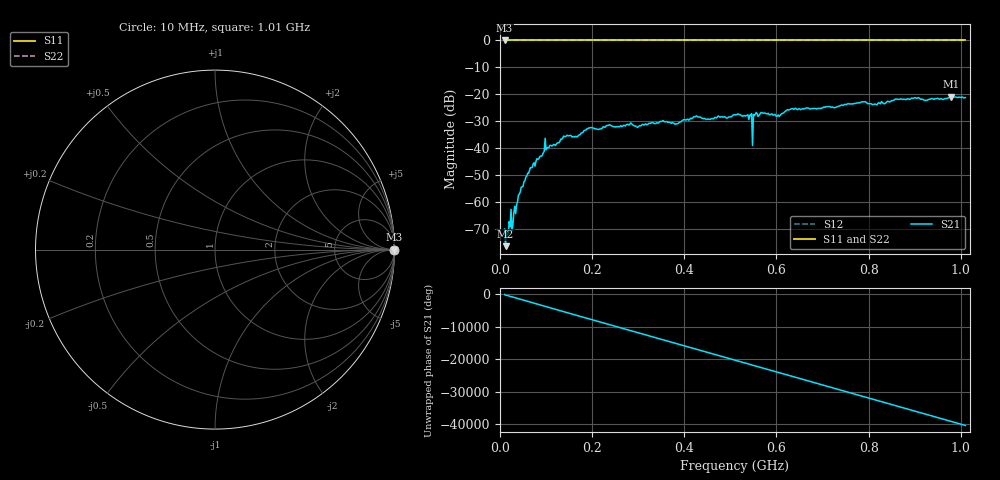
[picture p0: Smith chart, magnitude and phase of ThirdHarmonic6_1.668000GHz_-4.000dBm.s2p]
! 8/16/2025 7:59:39 PM
! C:\ANRITSUVNA\TEMP\TEMP.S2P
! CHANNEL.1
! TR.MEASUREMENT
! RAW.DATA
! RF.CORRECTION.OFF
! AVERAGING.OFF
! IF.BANDWIDTH: 5KHZ
! SWEEPTYPE:  FREQ.SWEEP(Linear)
! Reference Plane Port Info
! PORT:  PORT1  PORT2
! DISTANCE:  0  m  0  m
! TIME:  0  s  0  s
! PHASE.OFFSET:  0  deg.  0  deg.
! LOSS:  0  dB  0  dB
! REF.LOSS:  0  dB  0  dB
! REF.FREQ:  0  Hz  0  Hz
! Power Info
! POWER:  -20  dBm  -20  dBm
! EFF.POWER:  -20  dBm  -20  dBm
! SOURCE.ATTEN:  0  dB  0  dB
! TEST.ATTEN:  0  dB  0  dB
# GHZ S RI R 50.0
! FREQ.GHZ  S11RE  S11IM  S21RE  S21IM  S12RE  S12IM  S22RE  S22IM
!; PortSelection: Port_12
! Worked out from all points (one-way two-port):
!   501 points, 10 MHz to 1.01 GHz, reference 50 ohm
!   highest |S21| = -20.91 dB at 978 MHz (marker M1); lowest = -76.4 dB at 12 MHz (marker M2)
!   lowest |S11| = 0.0 dB at 10 MHz (marker M3)
!   |S11| at or under -10 dB: nowhere
!   |S22| runs from 0.0 to 0.0 dB; largest |S21 - S12| = 1.1
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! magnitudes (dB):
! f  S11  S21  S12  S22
! 10 MHz  0.0  -70.0  0.0  0.0
! 12 MHz  0.0  -76.4  0.0  0.0
! 30 MHz  0.0  -64.0  0.0  0.0
! 42 MHz  0.0  -57.0  0.0  0.0
! 56 MHz  0.0  -50.8  0.0  0.0
! 98 MHz  0.0  -36.3  0.0  0.0
! 142 MHz  0.0  -35.7  0.0  0.0
! 178 MHz  0.0  -34.3  0.0  0.0
! 236 MHz  0.0  -31.4  0.0  0.0
! 344 MHz  0.0  -30.6  0.0  0.0
! 382 MHz  0.0  -31.0  0.0  0.0
! 510 MHz  0.0  -27.6  0.0  0.0
! 542 MHz  0.0  -27.7  0.0  0.0
! 544 MHz  0.0  -27.9  0.0  0.0
! 552 MHz  0.0  -27.9  0.0  0.0
! 554 MHz  0.0  -27.4  0.0  0.0
! 604 MHz  0.0  -27.7  0.0  0.0
! 632 MHz  0.0  -25.4  0.0  0.0
! 678 MHz  0.0  -25.3  0.0  0.0
! 844 MHz  0.0  -22.7  0.0  0.0
! 978 MHz  0.0  -20.9  0.0  0.0
! 1.01 GHz  0.0  -21.2  0.0  0.0
